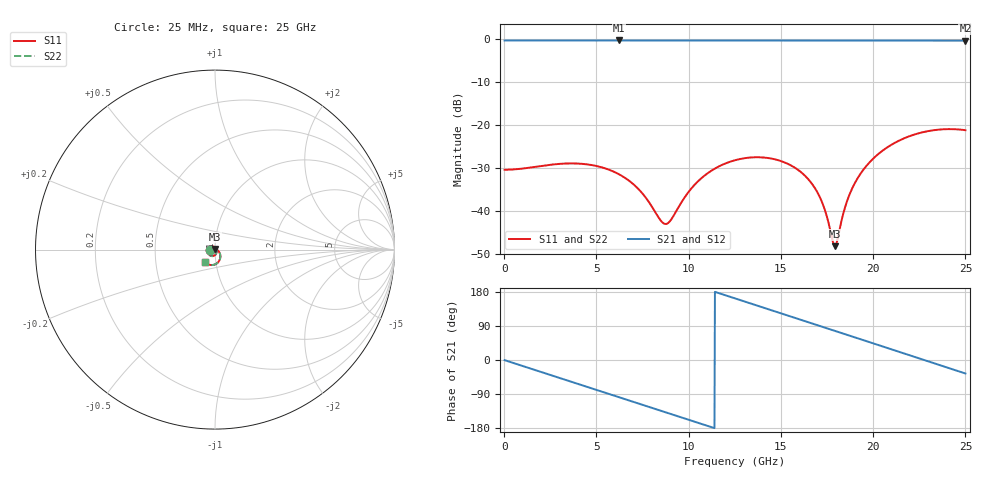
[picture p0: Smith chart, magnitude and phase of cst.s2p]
! thru_RG_ts6p_L1: 2×thru, L1, 8 mm
! stackup: ThunderScope Rev5.3 6-layer with the In2 plane
! ports: 1, 2
! CST Studio Suite 2025.5 Release from 2025-05-30, time domain (FIT, hexahedral, PBA), 28028 mesh cells, 16 s
! mesh: {'lpw': 20, 'lpb': 20, 'minstep': 0.0, 'ratio': 20}; ports: port 1 (face); port 2 (face)
! interpolated from CST's 1001 samples to the case grid
# Hz S RI R 50
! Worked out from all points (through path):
!   1000 points, 25 MHz to 25 GHz, reference 50 ohm
!   highest |S21| = -0.26 dB at 6.2 GHz (marker M1); lowest = -0.3 dB at 25 GHz (marker M2)
!   group delay of S21, straight-line fit = 43.9 ps
!   lowest |S11| = -48.1 dB at 17.93 GHz (marker M3), VSWR 1.01, Z = 50.1 + j0.378 ohm
!   |S11| at or under -10 dB: start of sweep to end of sweep
!   |S22| runs from -48.1 to -20.9 dB; largest |S21 - S12| = 5.1e-07
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2.5e7  -0.0304 -2.97e-05  0.9698 -0.00666  0.9698 -0.00666  -0.0304 -2.97e-05
1.975e9  -0.0335 -8.07e-05  0.8304 -0.5011  0.8304 -0.5011  -0.0335 -8.07e-05
4.2e9  -0.0341 0.0102  0.392 -0.8873  0.392 -0.8873  -0.0341 0.0102
6.2e9  -0.0194 0.0189  -0.13 -0.9613  -0.13 -0.9613  -0.0194 0.0189
7.35e9  -0.00636 0.0163  -0.4228 -0.873  -0.4228 -0.873  -0.00636 0.0163
8.35e9  0.00356 0.00781  -0.6443 -0.725  -0.6443 -0.725  0.00357 0.00781
8.9e9  0.00724 0.00115  -0.7463 -0.6194  -0.7463 -0.6194  0.00724 0.00115
1.0575e10  0.00641 -0.0221  -0.9438 -0.2221  -0.9438 -0.2221  0.00641 -0.0221
1.2525e10  -0.0148 -0.0364  -0.924 0.2926  -0.924 0.2926  -0.0148 -0.0364
1.3675e10  -0.0284 -0.0316  -0.7864 0.5662  -0.7864 0.5662  -0.0284 -0.0316
1.49e10  -0.0347 -0.0176  -0.5539 0.7949  -0.5539 0.7949  -0.0347 -0.0176
1.59e10  -0.0302 -0.00472  -0.316 0.9157  -0.316 0.9157  -0.0302 -0.00472
1.6675e10  -0.0208 0.00262  -0.114 0.9619  -0.114 0.9619  -0.0208 0.00262
1.7275e10  -0.0109 0.00512  0.0466 0.9675  0.0466 0.9675  -0.0109 0.00511
1.7925e10  0.00107 0.00377  0.219 0.9434  0.219 0.9434  0.00107 0.00377
1.805e10  0.00339 0.00299  0.2515 0.9353  0.2515 0.9353  0.00339 0.00299
1.855e10  0.0123 -0.00182  0.3782 0.8915  0.3782 0.8915  0.0123 -0.00182
1.905e10  0.0201 -0.00919  0.4977 0.8306  0.4977 0.8306  0.02 -0.00919
1.9825e10  0.0281 -0.0247  0.6633 0.7052  0.6633 0.7052  0.0281 -0.0247
2.085e10  0.0285 -0.0492  0.8341 0.4904  0.8341 0.4904  0.0285 -0.0492
2.29e10  -0.00626 -0.0846  0.9656 -0.0367  0.9656 -0.0367  -0.00627 -0.0846
2.5e10  -0.054 -0.0691  0.7842 -0.5615  0.7842 -0.5615  -0.054 -0.0691
